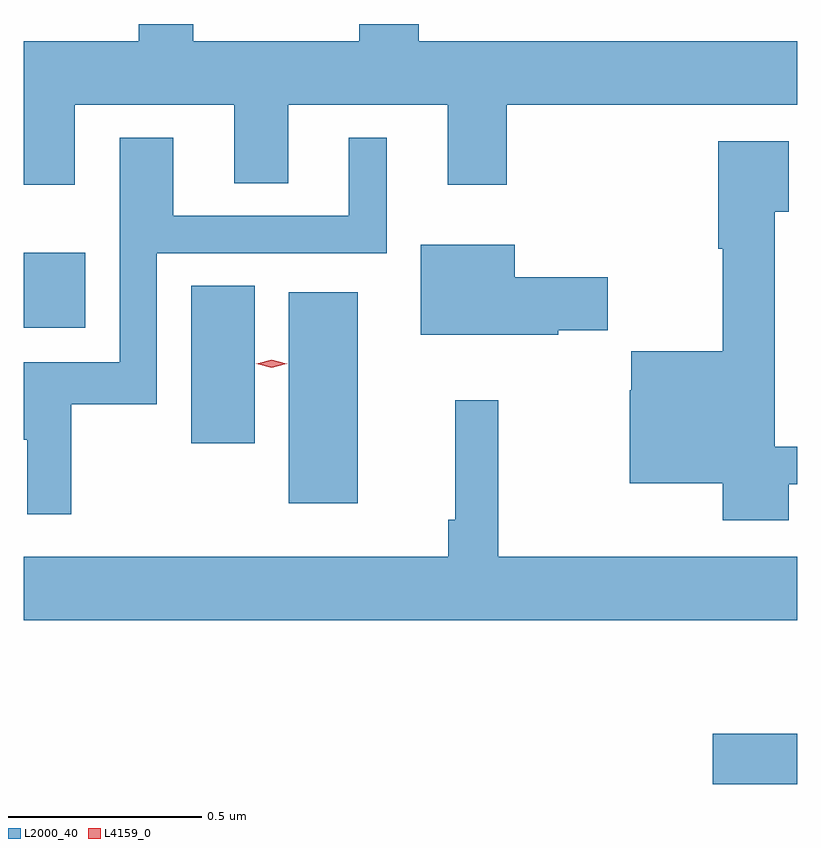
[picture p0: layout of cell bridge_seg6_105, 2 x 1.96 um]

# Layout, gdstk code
import gdstk
lib = gdstk.Library(unit=1e-6, precision=1e-09)
def R(c, l, rs):  # rectangles x0, y0, x1, y1
    for r in rs: c.add(gdstk.rectangle(r[:2], r[2:], *l))
def P(c, l, *ps):  # polygons
    for p in ps: c.add(gdstk.Polygon(p, *l))
L2000_40 = (2000, 40)
L4159_0 = (4159, 0)

bridge_seg6_105 = lib.new_cell('bridge_seg6_105')
R(bridge_seg6_105, L2000_40, [(390,942.917,390.219,943.047), (388.904,943.643,389.083,944.188), (388.652,943.797,388.816,944.204), (388.219,944.096,388.378,944.29)])
P(bridge_seg6_105, L2000_40, [(388.351,944.672),(388.763,944.672),(388.763,944.47),(388.903,944.47),(388.903,944.672),(389.315,944.672),(389.315,944.466),(389.468,944.466),(389.468,944.672),(390.219,944.672),(390.219,944.836),(389.24,944.836),(389.24,944.881),(389.087,944.881),(389.087,944.836),(388.657,944.836),(388.657,944.881),(388.517,944.881),(388.517,944.836),(388.219,944.836),(388.219,944.466),(388.351,944.466)],
  [(388.342,943.899),(388.563,943.899),(388.563,944.289),(389.158,944.289),(389.158,944.587),(389.06,944.587),(389.06,944.385),(388.606,944.385),(388.606,944.587),(388.467,944.587),(388.467,944.007),(388.219,944.007),(388.219,943.806),(388.228,943.806),(388.228,943.614),(388.342,943.614)],
  [(390.196,943.692),(390.219,943.692),(390.219,943.788),(390.16,943.788),(390.16,944.396),(390.196,944.396),(390.196,944.578),(390.014,944.578),(390.014,944.3),(390.026,944.3),(390.026,944.035),(389.79,944.035),(389.79,943.934),(389.786,943.934),(389.786,943.694),(390.026,943.694),(390.026,943.598),(390.196,943.598)],
  [(389.601,944.089),(389.729,944.089),(389.729,944.226),(389.488,944.226),(389.488,944.311),(389.246,944.311),(389.246,944.078),(389.601,944.078)],
  [(390.219,943.504),(389.446,943.504),(389.446,943.909),(389.335,943.909),(389.335,943.6),(389.317,943.6),(389.317,943.504),(388.219,943.504),(388.219,943.34),(390.219,943.34)])
P(bridge_seg6_105, L4159_0, [(388.86,943.993),(388.821,944.003),(388.821,944.003),(388.821,944.003),(388.86,944.013),(388.899,944.003),(388.9,944.003),(388.899,944.003)])

lib.write_gds('bridge_seg6_105.gds')
